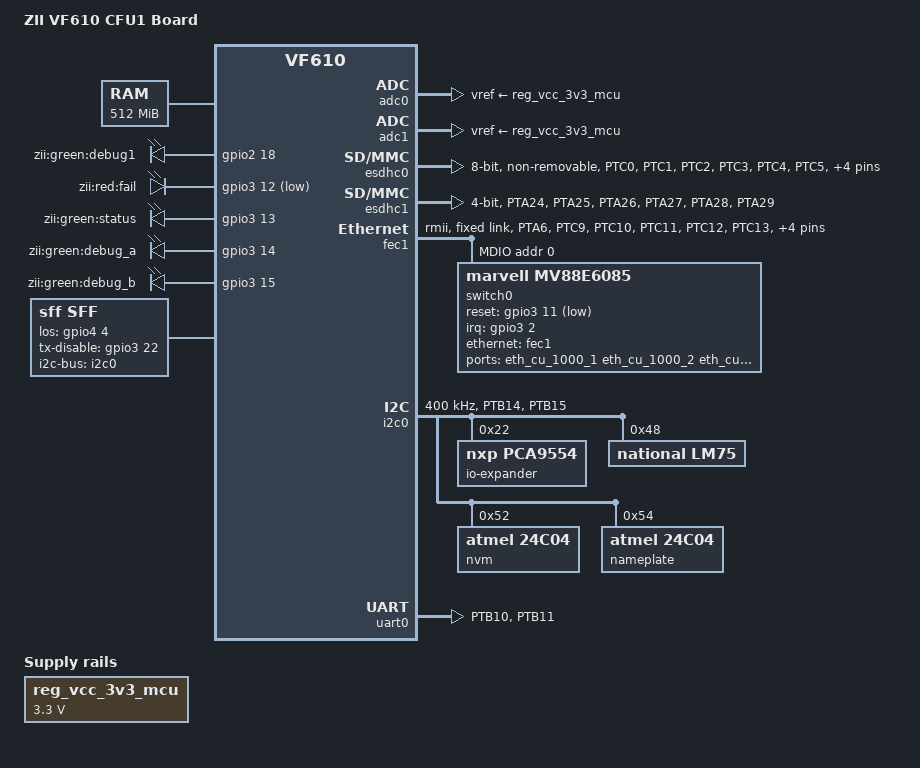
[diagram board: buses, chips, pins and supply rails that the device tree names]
// SPDX-License-Identifier: (GPL-2.0 OR MIT)

/*
 * Copyright (C) 2018 Zodiac Inflight Innovations
 */

/dts-v1/;
#include "vf610.dtsi"

/ {
	model = "ZII VF610 CFU1 Board";
	compatible = "zii,vf610cfu1", "zii,vf610dev", "fsl,vf610";

	chosen {
		stdout-path = &uart0;
	};

	memory@80000000 {
		device_type = "memory";
		reg = <0x80000000 0x20000000>;
	};

	gpio-leds {
		compatible = "gpio-leds";
		pinctrl-0 = <&pinctrl_leds_debug>;
		pinctrl-names = "default";

		led-debug {
			label = "zii:green:debug1";
			gpios = <&gpio2 18 GPIO_ACTIVE_HIGH>;
			linux,default-trigger = "heartbeat";
		};

		led-fail {
			label = "zii:red:fail";
			gpios = <&gpio3 12 GPIO_ACTIVE_LOW>;
			default-state = "off";
		};

		led-status {
			label = "zii:green:status";
			gpios = <&gpio3 13 GPIO_ACTIVE_HIGH>;
			default-state = "off";
		};

		led-debug-a {
			label = "zii:green:debug_a";
			gpios = <&gpio3 14 GPIO_ACTIVE_HIGH>;
			default-state = "off";
		};

		led-debug-b {
			label = "zii:green:debug_b";
			gpios = <&gpio3 15 GPIO_ACTIVE_HIGH>;
			default-state = "off";
		};
	};

	reg_vcc_3v3_mcu: regulator-vcc-3v3-mcu {
		 compatible = "regulator-fixed";
		 regulator-name = "vcc_3v3_mcu";
		 regulator-min-microvolt = <3300000>;
		 regulator-max-microvolt = <3300000>;
	};

	sff: sfp {
		compatible = "sff,sff";
		pinctrl-0 = <&pinctrl_optical>;
		pinctrl-names = "default";
		i2c-bus = <&i2c0>;
		los-gpio = <&gpio4 4 GPIO_ACTIVE_HIGH>;
		tx-disable-gpio = <&gpio3 22 GPIO_ACTIVE_HIGH>;
	};
};

&adc0 {
	vref-supply = <&reg_vcc_3v3_mcu>;
	status = "okay";
};

&adc1 {
	vref-supply = <&reg_vcc_3v3_mcu>;
	status = "okay";
};

&dspi1 {
	bus-num = <1>;
	pinctrl-names = "default";
	pinctrl-0 = <&pinctrl_dspi1>;
	/*
	 * Some CFU1s come with SPI-NOR chip DNPed, so we leave this
	 * node disabled by default and rely on bootloader to enable
	 * it when appropriate.
	 */
	status = "disabled";

	flash@0 {
		#address-cells = <1>;
		#size-cells = <1>;
		compatible = "m25p128", "jedec,spi-nor";
		reg = <0>;
		spi-max-frequency = <50000000>;

		partition@0 {
			label = "m25p128-0";
			reg = <0x0 0x01000000>;
		};
	};
};

&edma0 {
	status = "okay";
};

&edma1 {
	status = "okay";
};

&esdhc0 {
	pinctrl-names = "default";
	pinctrl-0 = <&pinctrl_esdhc0>;
	bus-width = <8>;
	non-removable;
	no-1-8-v;
	keep-power-in-suspend;
	no-sdio;
	no-sd;
	status = "okay";
};

&esdhc1 {
	pinctrl-names = "default";
	pinctrl-0 = <&pinctrl_esdhc1>;
	bus-width = <4>;
	no-sdio;
	status = "okay";
};

&fec1 {
	phy-mode = "rmii";
	pinctrl-names = "default";
	pinctrl-0 = <&pinctrl_fec1>;
	status = "okay";

	fixed-link {
		speed = <100>;
		full-duplex;
	};

	mdio1: mdio {
		#address-cells = <1>;
		#size-cells = <0>;
		status = "okay";

		switch0: switch0@0 {
			compatible = "marvell,mv88e6085";
			pinctrl-names = "default";
			pinctrl-0 = <&pinctrl_switch>;
			reg = <0>;
			eeprom-length = <512>;
			interrupt-parent = <&gpio3>;
			interrupts = <2 IRQ_TYPE_LEVEL_LOW>;
			interrupt-controller;
			#interrupt-cells = <2>;
			reset-gpios = <&gpio3 11 GPIO_ACTIVE_LOW>;

			ports {
				#address-cells = <1>;
				#size-cells = <0>;

				port@0 {
					reg = <0>;
					label = "eth_cu_1000_1";
				};

				port@1 {
					reg = <1>;
					label = "eth_cu_1000_2";
				};

				port@2 {
					reg = <2>;
					label = "eth_cu_1000_3";
				};

				port@5 {
					reg = <5>;
					label = "eth_fc_1000_1";
					phy-mode = "1000base-x";
					managed = "in-band-status";
					sfp = <&sff>;
				};

				port@6 {
					reg = <6>;
					label = "cpu";
					ethernet = <&fec1>;

					fixed-link {
						speed = <100>;
						full-duplex;
					};
				};
			};
		};
	};
};

&i2c0 {
	clock-frequency = <400000>;
	pinctrl-names = "default";
	pinctrl-0 = <&pinctrl_i2c0>;
	status = "okay";

	io-expander@22 {
		compatible = "nxp,pca9554";
		reg = <0x22>;
		gpio-controller;
	};

	lm75@48 {
		compatible = "national,lm75";
		reg = <0x48>;
	};

	eeprom@52 {
		compatible = "atmel,24c04";
		reg = <0x52>;
		label = "nvm";
	};

	eeprom@54 {
		compatible = "atmel,24c04";
		reg = <0x54>;
		label = "nameplate";
	};
};

&snvsrtc {
	status = "disabled";
};

&uart0 {
	pinctrl-names = "default";
	pinctrl-0 = <&pinctrl_uart0>;
	status = "okay";
};

&iomuxc {
	pinctrl_dspi1: dspi1grp {
		fsl,pins = <
			VF610_PAD_PTD5__DSPI1_CS0		0x1182
			VF610_PAD_PTC6__DSPI1_SIN		0x1181
			VF610_PAD_PTC7__DSPI1_SOUT		0x1182
			VF610_PAD_PTC8__DSPI1_SCK		0x1182
		>;
	};

	pinctrl_esdhc0: esdhc0grp {
		fsl,pins = <
			VF610_PAD_PTC0__ESDHC0_CLK		0x31ef
			VF610_PAD_PTC1__ESDHC0_CMD		0x31ef
			VF610_PAD_PTC2__ESDHC0_DAT0		0x31ef
			VF610_PAD_PTC3__ESDHC0_DAT1		0x31ef
			VF610_PAD_PTC4__ESDHC0_DAT2		0x31ef
			VF610_PAD_PTC5__ESDHC0_DAT3		0x31ef
			VF610_PAD_PTD23__ESDHC0_DAT4		0x31ef
			VF610_PAD_PTD22__ESDHC0_DAT5		0x31ef
			VF610_PAD_PTD21__ESDHC0_DAT6		0x31ef
			VF610_PAD_PTD20__ESDHC0_DAT7		0x31ef
		>;
	};

	pinctrl_esdhc1: esdhc1grp {
		fsl,pins = <
			VF610_PAD_PTA24__ESDHC1_CLK		0x31ef
			VF610_PAD_PTA25__ESDHC1_CMD		0x31ef
			VF610_PAD_PTA26__ESDHC1_DAT0		0x31ef
			VF610_PAD_PTA27__ESDHC1_DAT1		0x31ef
			VF610_PAD_PTA28__ESDHC1_DATA2		0x31ef
			VF610_PAD_PTA29__ESDHC1_DAT3		0x31ef
		>;
	};

	pinctrl_fec1: fec1grp {
		fsl,pins = <
			VF610_PAD_PTA6__RMII_CLKIN		0x30d1
			VF610_PAD_PTC9__ENET_RMII1_MDC		0x30fe
			VF610_PAD_PTC10__ENET_RMII1_MDIO	0x30d3
			VF610_PAD_PTC11__ENET_RMII1_CRS		0x30d1
			VF610_PAD_PTC12__ENET_RMII1_RXD1	0x30d1
			VF610_PAD_PTC13__ENET_RMII1_RXD0	0x30d1
			VF610_PAD_PTC14__ENET_RMII1_RXER	0x30d1
			VF610_PAD_PTC15__ENET_RMII1_TXD1	0x30d2
			VF610_PAD_PTC16__ENET_RMII1_TXD0	0x30d2
			VF610_PAD_PTC17__ENET_RMII1_TXEN	0x30d2
		>;
	};

	pinctrl_i2c0: i2c0grp {
		fsl,pins = <
			VF610_PAD_PTB14__I2C0_SCL		0x37ff
			VF610_PAD_PTB15__I2C0_SDA		0x37ff
		>;
	};

	pinctrl_leds_debug: pinctrl-leds-debug {
		fsl,pins = <
			VF610_PAD_PTD3__GPIO_82			0x31c2
			VF610_PAD_PTE3__GPIO_108		0x31c2
			VF610_PAD_PTE4__GPIO_109		0x31c2
			VF610_PAD_PTE5__GPIO_110		0x31c2
			VF610_PAD_PTE6__GPIO_111		0x31c2
		>;
	};

	pinctrl_optical: optical-grp {
		fsl,pins = <
		/* SFF SD input */
		VF610_PAD_PTE27__GPIO_132	0x3061

		/* SFF Transmit disable output */
		VF610_PAD_PTE13__GPIO_118	0x3043
		>;
	};

	pinctrl_switch: switch-grp {
		fsl,pins = <
			VF610_PAD_PTB28__GPIO_98		0x3061
			VF610_PAD_PTE2__GPIO_107		0x1042
		>;
	};

	pinctrl_uart0: uart0grp {
		fsl,pins = <
			VF610_PAD_PTB10__UART0_TX		0x21a2
			VF610_PAD_PTB11__UART0_RX		0x21a1
		>;
	};
};
